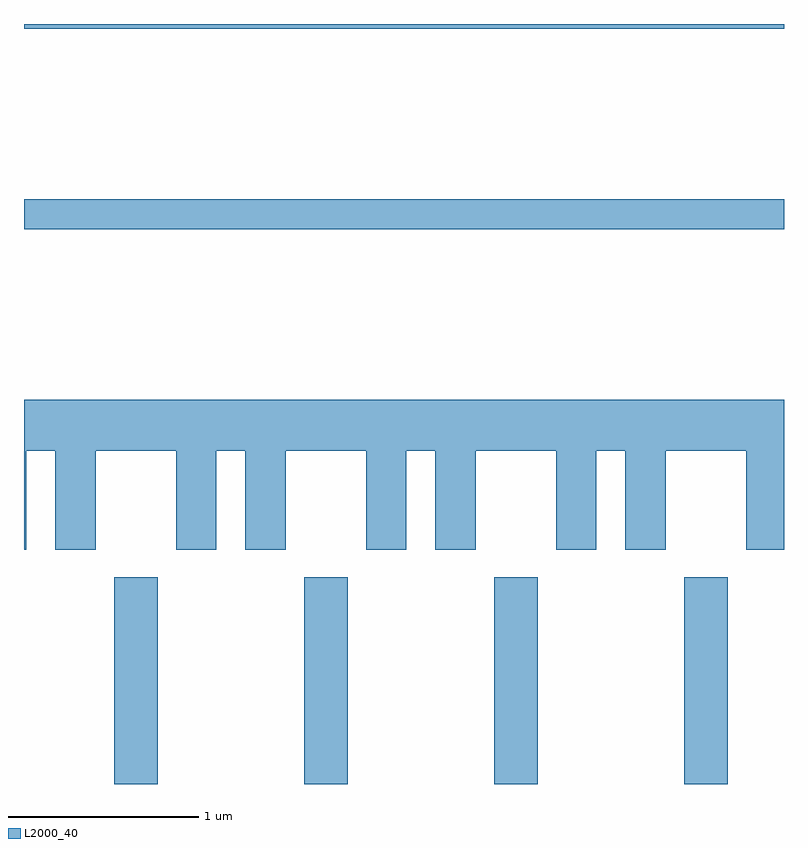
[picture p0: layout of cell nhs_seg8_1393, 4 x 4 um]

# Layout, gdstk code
import gdstk
lib = gdstk.Library(unit=1e-6, precision=1e-09)
def R(c, l, rs):  # rectangles x0, y0, x1, y1
    for r in rs: c.add(gdstk.rectangle(r[:2], r[2:], *l))
def A(c, l, x, y, w, h, nx, ny, dx, dy):  # array of equal rectangles
    R(c, l, [(x+i*dx, y+j*dy, x+i*dx+w, y+j*dy+h) for i in range(nx) for j in range(ny)])
def P(c, l, *ps):  # polygons
    for p in ps: c.add(gdstk.Polygon(p, *l))
L2000_40 = (2000, 40)

nhs_seg8_1393 = lib.new_cell('nhs_seg8_1393')
A(nhs_seg8_1393, L2000_40, 226.086, 1932.342, 0.228, 1.087, 4, 1, 1, 0)
R(nhs_seg8_1393, L2000_40, [(225.611,1935.261,229.611,1935.419), (225.611,1936.316,229.611,1936.342)])
P(nhs_seg8_1393, L2000_40, [(225.624,1934.096),(225.776,1934.096),(225.776,1933.576),(225.989,1933.576),(225.989,1934.096),(226.411,1934.096),(226.411,1933.576),(226.624,1933.576),(226.624,1934.096),(226.776,1934.096),(226.776,1933.576),(226.989,1933.576),(226.989,1934.096),(227.411,1934.096),(227.411,1933.576),(227.624,1933.576),(227.624,1934.096),(227.776,1934.096),(227.776,1933.576),(227.989,1933.576),(227.989,1934.096),(228.411,1934.096),(228.411,1933.576),(228.624,1933.576),(228.624,1934.096),(228.776,1934.096),(228.776,1933.576),(228.989,1933.576),(228.989,1934.096),(229.411,1934.096),(229.411,1933.576),(229.611,1933.576),(229.611,1934.364),(225.611,1934.364),(225.611,1933.576),(225.624,1933.576)])

lib.write_gds('nhs_seg8_1393.gds')
